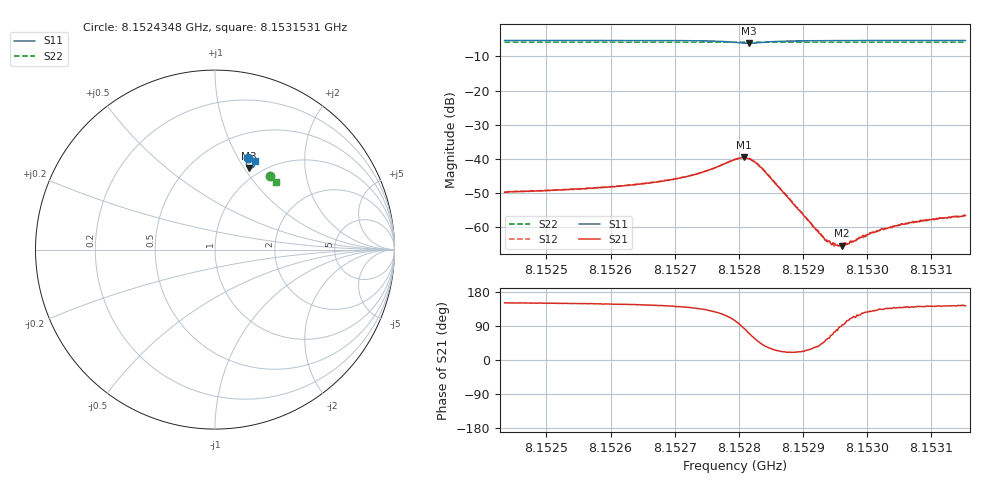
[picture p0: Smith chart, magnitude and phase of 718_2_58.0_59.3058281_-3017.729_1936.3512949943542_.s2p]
#  HZ  S  RI  R  50.00
! Rohde & Schwarz Vector Network Analyzer
! Rohde-Schwarz,ZNB20-2Port,1311601062101988,3.16
! Created: UTC 3/21/2024, 1:22:28 AM
! freq[Hz]  re:S11  im:S11  re:S21  im:S21  re:S12  im:S12  re:S22  im:S22
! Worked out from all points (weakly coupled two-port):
!   401 points, 8.1524348 GHz to 8.1531531 GHz, reference 50 ohm
!   highest |S21| = -39.57 dB at 8.1528083 GHz (marker M1); lowest = -65.4 dB at 8.152961 GHz (marker M2)
!   lowest |S11| = -6.2 dB at 8.1528155 GHz (marker M3), VSWR 2.94, Z = 43.8 + j52.6 ohm
!   |S11| at or under -10 dB: nowhere
!   |S22| runs from -5.9 to -5.8 dB; largest |S21 - S12| = 0.00039
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8.15243485e9  0.1853 0.5077  -0.00282 0.00158  -0.00285 0.00166  0.3074 0.4084
8.15255516e9  0.195 0.504  -0.00313 0.00191  -0.00312 0.00194  0.3135 0.4035
8.15260723e9  0.1995 0.5018  -0.00328 0.00214  -0.00331 0.00216  0.3161 0.4014
8.15267547e9  0.2067 0.4978  -0.00372 0.00275  -0.00373 0.00281  0.3194 0.3986
8.15270061e9  0.2099 0.4955  -0.00397 0.00316  -0.00399 0.00324  0.3207 0.3975
8.15273832e9  0.2155 0.4894  -0.00439 0.00433  -0.00438 0.0044  0.3228 0.3956
8.15279398e9  0.2142 0.4604  -0.00236 0.00952  -0.00231 0.00957  0.3248 0.3924
8.15280835e9  0.1987 0.4529  0.00128 0.0104  0.00126 0.0104  0.3248 0.3918
8.15281553e9  0.1887 0.4545  0.00324 0.00943  0.00313 0.00981  0.3249 0.3917
8.15282631e9  0.1778 0.4642  0.00509 0.00711  0.00529 0.00722  0.325 0.3919
8.15283887e9  0.175 0.4777  0.00519 0.00426  0.0054 0.0043  0.3256 0.3918
8.15291429e9  0.1972 0.4984  0.000906 0.000538  0.000966 0.000503  0.3304 0.3892
8.15293584e9  0.2012 0.4985  0.000378 0.000506  0.000431 0.000497  0.3313 0.3884
8.152952e9  0.2036 0.4982  0.000101 0.000531  0.000124 0.000543  0.3323 0.3876
8.15296098e9  0.2049 0.4982  -2.87e-05 0.000538  -1.38e-05 0.000554  0.3327 0.3872
8.15296816e9  0.2059 0.4979  -0.000134 0.000555  -0.00013 0.000543  0.3331 0.387
8.15300408e9  0.2101 0.4973  -0.000499 0.000619  -0.000503 0.000655  0.3347 0.3852
8.15302383e9  0.2121 0.4966  -0.000659 0.000686  -0.000652 0.000694  0.3358 0.3845
8.1530346e9  0.2132 0.4963  -0.000722 0.000675  -0.000704 0.000668  0.3363 0.384
8.15305615e9  0.2152 0.4956  -0.000824 0.000732  -0.000822 0.000768  0.3372 0.3832
8.15308668e9  0.2178 0.4949  -0.000965 0.000774  -0.000953 0.000767  0.3388 0.3818
8.15315312e9  0.2232 0.4929  -0.00118 0.000885  -0.00116 0.000879  0.3417 0.379
